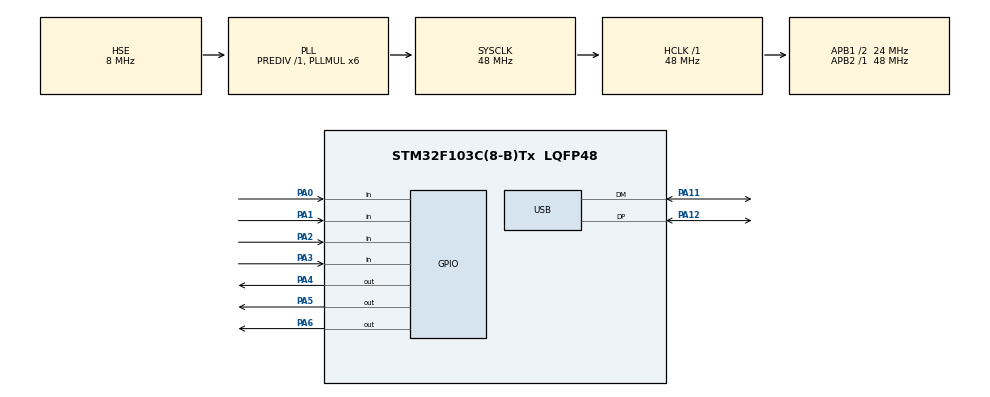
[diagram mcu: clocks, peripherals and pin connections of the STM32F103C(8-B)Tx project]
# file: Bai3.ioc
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Mcu.Family=STM32F1
Mcu.Name=STM32F103C(8-B)Tx
Mcu.Package=LQFP48
NVIC.PriorityGroup=NVIC_PRIORITYGROUP_4
NVIC.USB_LP_CAN1_RX0_IRQn=true\:0\:0\:false\:false\:true\:false\:true
PA0-WKUP.GPIO_PuPd=GPIO_PULLUP
PA0-WKUP.Signal=GPIO_Input
PA1.GPIO_PuPd=GPIO_PULLUP
PA1.Signal=GPIO_Input
PA11.Mode=Device
PA11.Signal=USB_DM
PA12.Mode=Device
PA12.Signal=USB_DP
PA13.Mode=Serial_Wire
PA13.Signal=SYS_JTMS-SWDIO
PA14.Mode=Serial_Wire
PA14.Signal=SYS_JTCK-SWCLK
PA2.GPIO_PuPd=GPIO_NOPULL
PA2.Signal=GPIO_Input
PA3.GPIO_PuPd=GPIO_PULLUP
PA3.Signal=GPIO_Input
PA4.Signal=GPIO_Output
PA5.Signal=GPIO_Output
PA6.Signal=GPIO_Output
PD0-OSC_IN.Mode=HSE-External-Oscillator
PD0-OSC_IN.Signal=RCC_OSC_IN
PD1-OSC_OUT.Mode=HSE-External-Oscillator
PD1-OSC_OUT.Signal=RCC_OSC_OUT
ProjectManager.HeapSize=0x200
ProjectManager.StackSize=0x400
ProjectManager.TargetToolchain=MDK-ARM V5.27
RCC.AHBFreq_Value=48000000
RCC.APB1CLKDivider=RCC_HCLK_DIV2
RCC.APB1Freq_Value=24000000
RCC.APB1TimFreq_Value=48000000
RCC.APB2Freq_Value=48000000
RCC.APB2TimFreq_Value=48000000
RCC.HCLKFreq_Value=48000000
RCC.PLLMUL=RCC_PLL_MUL6
RCC.SYSCLKFreq_VALUE=48000000
RCC.SYSCLKSource=RCC_SYSCLKSOURCE_PLLCLK
RCC.USBFreq_Value=48000000
USB_DEVICE.CLASS_NAME_FS=HID
USB_DEVICE.VirtualMode=Hid
USB_DEVICE.VirtualModeFS=Hid_FS
VP_USB_DEVICE_VS_USB_DEVICE_HID_FS.Mode=HID_FS
board=custom

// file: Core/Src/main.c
/* USER CODE BEGIN Header */
/**
  ******************************************************************************
  * @file           : main.c
  * @brief          : Main program body
  ******************************************************************************
  * @attention
  *
  * <h2><center>&copy; Copyright (c) 2021 STMicroelectronics.
  * All rights reserved.</center></h2>
  *
  * This software component is licensed by ST under Ultimate Liberty license
  * SLA0044, the "License"; You may not use this file except in compliance with
  * the License. You may obtain a copy of the License at:
  *                             www.st.com/SLA0044
  *
  ******************************************************************************
  */
/* USER CODE END Header */
#include "main.h"
#include "usb_device.h"

#include "usbd_hid.h"
#include "KEYPAD.h"

/* USER CODE BEGIN PV */
uint8_t report[8] = {
	0, //MODIFIER
	0, //RESERVED
	0, //KEYCODE1
	0, //KEYCODE2
	0, //KEYCODE3
	0, //KEYCODE4
	0, //KEYCODE5
	0  //KEYCODE6
};
extern USBD_HandleTypeDef hUsbDeviceFS;
char Key;
KEYPAD_Name KeyPad;
char KEYMAP[NUMROWS][NUMCOLS] = {
{0x1E,0x1F,0x20},
{0x21,0x22,0x23},
{0x24,0x25,0x26},
{0x55,0x27,0x58}
};

/* USER CODE END PV */

void SystemClock_Config(void);
static void MX_GPIO_Init(void);

int main(void)
{

  /* MCU Configuration--------------------------------------------------------*/

  /* Reset of all peripherals, Initializes the Flash interface and the Systick. */
  HAL_Init();

  /* Configure the system clock */
  SystemClock_Config();

  /* Initialize all configured peripherals */
  MX_GPIO_Init();
  MX_USB_DEVICE_Init();
  /* USER CODE BEGIN 2 */
	KEYPAD3X4_Init(&KeyPad, KEYMAP, GPIOA, GPIO_PIN_4, GPIOA, GPIO_PIN_5, GPIOA, GPIO_PIN_6,
																	GPIOA, GPIO_PIN_0, GPIOA, GPIO_PIN_1,
																	GPIOA, GPIO_PIN_2, GPIOA, GPIO_PIN_3);
  /* USER CODE END 2 */

  /* Infinite loop */
  while (1)
  {
		Key = KEYPAD3X4_Readkey(&KeyPad);
		if(Key)
		{
			report[2] = Key;
			USBD_HID_SendReport(&hUsbDeviceFS, report, sizeof (report)); // gui ki tu
			HAL_Delay(50);

			Key = 0;
			report[2] = 0;
			USBD_HID_SendReport(&hUsbDeviceFS, report, sizeof (report)); // dung gui ki tu
			HAL_Delay(50);
		}
  }
}

void SystemClock_Config(void)
{
  RCC_OscInitTypeDef RCC_OscInitStruct = {0};
  RCC_ClkInitTypeDef RCC_ClkInitStruct = {0};
  RCC_PeriphCLKInitTypeDef PeriphClkInit = {0};

  /** Initializes the RCC Oscillators according to the specified parameters
  * in the RCC_OscInitTypeDef structure.
  */
  RCC_OscInitStruct.OscillatorType = RCC_OSCILLATORTYPE_HSE;
  RCC_OscInitStruct.HSEState = RCC_HSE_ON;
  RCC_OscInitStruct.HSEPredivValue = RCC_HSE_PREDIV_DIV1;
  RCC_OscInitStruct.HSIState = RCC_HSI_ON;
  RCC_OscInitStruct.PLL.PLLState = RCC_PLL_ON;
  RCC_OscInitStruct.PLL.PLLSource = RCC_PLLSOURCE_HSE;
  RCC_OscInitStruct.PLL.PLLMUL = RCC_PLL_MUL6;
  if (HAL_RCC_OscConfig(&RCC_OscInitStruct) != HAL_OK)
  {
    Error_Handler();
  }
  /** Initializes the CPU, AHB and APB buses clocks
  */
  RCC_ClkInitStruct.ClockType = RCC_CLOCKTYPE_HCLK|RCC_CLOCKTYPE_SYSCLK
                              |RCC_CLOCKTYPE_PCLK1|RCC_CLOCKTYPE_PCLK2;
  RCC_ClkInitStruct.SYSCLKSource = RCC_SYSCLKSOURCE_PLLCLK;
  RCC_ClkInitStruct.AHBCLKDivider = RCC_SYSCLK_DIV1;
  RCC_ClkInitStruct.APB1CLKDivider = RCC_HCLK_DIV2;
  RCC_ClkInitStruct.APB2CLKDivider = RCC_HCLK_DIV1;

  if (HAL_RCC_ClockConfig(&RCC_ClkInitStruct, FLASH_LATENCY_1) != HAL_OK)
  {
    Error_Handler();
  }
  PeriphClkInit.PeriphClockSelection = RCC_PERIPHCLK_USB;
  PeriphClkInit.UsbClockSelection = RCC_USBCLKSOURCE_PLL;
  if (HAL_RCCEx_PeriphCLKConfig(&PeriphClkInit) != HAL_OK)
  {
    Error_Handler();
  }
}

static void MX_GPIO_Init(void)
{
  GPIO_InitTypeDef GPIO_InitStruct = {0};

  /* GPIO Ports Clock Enable */
  __HAL_RCC_GPIOD_CLK_ENABLE();
  __HAL_RCC_GPIOA_CLK_ENABLE();

  /*Configure GPIO pin Output Level */
  HAL_GPIO_WritePin(GPIOA, GPIO_PIN_4|GPIO_PIN_5|GPIO_PIN_6, GPIO_PIN_RESET);

  /*Configure GPIO pins : PA0 PA1 PA3 */
  GPIO_InitStruct.Pin = GPIO_PIN_0|GPIO_PIN_1|GPIO_PIN_3;
  GPIO_InitStruct.Mode = GPIO_MODE_INPUT;
  GPIO_InitStruct.Pull = GPIO_PULLUP;
  HAL_GPIO_Init(GPIOA, &GPIO_InitStruct);

  /*Configure GPIO pin : PA2 */
  GPIO_InitStruct.Pin = GPIO_PIN_2;
  GPIO_InitStruct.Mode = GPIO_MODE_INPUT;
  GPIO_InitStruct.Pull = GPIO_NOPULL;
  HAL_GPIO_Init(GPIOA, &GPIO_InitStruct);

  /*Configure GPIO pins : PA4 PA5 PA6 */
  GPIO_InitStruct.Pin = GPIO_PIN_4|GPIO_PIN_5|GPIO_PIN_6;
  GPIO_InitStruct.Mode = GPIO_MODE_OUTPUT_PP;
  GPIO_InitStruct.Pull = GPIO_NOPULL;
  GPIO_InitStruct.Speed = GPIO_SPEED_FREQ_LOW;
  HAL_GPIO_Init(GPIOA, &GPIO_InitStruct);

}

void Error_Handler(void)
{
  __disable_irq();
  while (1)
  {
  }
}

/************************ (C) COPYRIGHT STMicroelectronics *****END OF FILE****/
